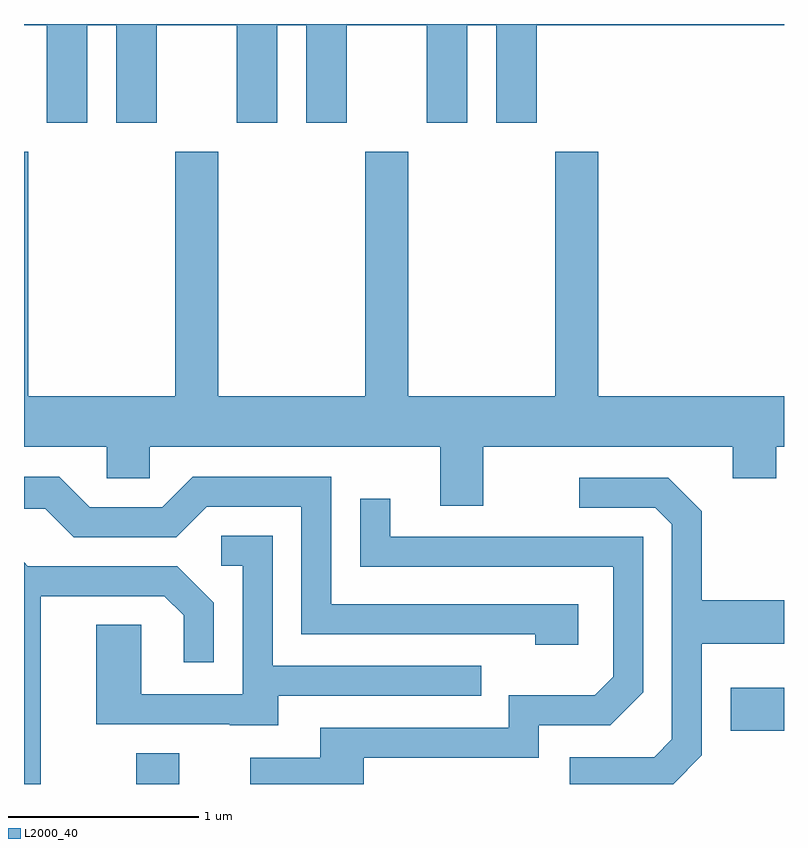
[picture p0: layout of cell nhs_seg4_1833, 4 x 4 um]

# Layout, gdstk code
import gdstk
lib = gdstk.Library(unit=1e-6, precision=1e-09)
def R(c, l, rs):  # rectangles x0, y0, x1, y1
    for r in rs: c.add(gdstk.rectangle(r[:2], r[2:], *l))
def P(c, l, *ps):  # polygons
    for p in ps: c.add(gdstk.Polygon(p, *l))
L2000_40 = (2000, 40)

nhs_seg4_1833 = lib.new_cell('nhs_seg4_1833')
R(nhs_seg4_1833, L2000_40, [(238.201,1383.982,238.429,1384.144), (241.331,1384.261,241.611,1384.489)])
P(nhs_seg4_1833, L2000_40, [(237.944,1387.976),(238.096,1387.976),(238.096,1387.461),(238.309,1387.461),(238.309,1387.976),(238.731,1387.976),(238.731,1387.461),(238.944,1387.461),(238.944,1387.976),(239.096,1387.976),(239.096,1387.461),(239.309,1387.461),(239.309,1387.976),(239.731,1387.976),(239.731,1387.461),(239.944,1387.461),(239.944,1387.976),(240.096,1387.976),(240.096,1387.461),(240.309,1387.461),(240.309,1387.976),(241.611,1387.976),(241.611,1387.982),(237.611,1387.982),(237.611,1387.976),(237.731,1387.976),(237.731,1387.461),(237.944,1387.461)],
  [(240.029,1385.756),(241.341,1385.756),(241.341,1385.591),(241.569,1385.591),(241.569,1385.756),(241.611,1385.756),(241.611,1386.024),(240.634,1386.024),(240.634,1387.309),(240.406,1387.309),(240.406,1386.024),(239.634,1386.024),(239.634,1387.309),(239.406,1387.309),(239.406,1386.024),(238.634,1386.024),(238.634,1387.309),(238.406,1387.309),(238.406,1386.024),(237.634,1386.024),(237.634,1387.309),(237.611,1387.309),(237.611,1385.756),(238.046,1385.756),(238.046,1385.591),(238.274,1385.591),(238.274,1385.756),(239.801,1385.756),(239.801,1385.446),(240.029,1385.446)],
  [(240.529,1384.929),(239.229,1384.929),(239.229,1385.599),(238.499,1385.599),(238.339,1385.439),(237.957,1385.439),(237.797,1385.599),(237.611,1385.599),(237.611,1385.431),(237.724,1385.431),(237.874,1385.281),(238.412,1385.281),(238.572,1385.441),(239.071,1385.441),(239.071,1384.771),(240.301,1384.771),(240.301,1384.716),(240.529,1384.716)],
  [(241.179,1384.134),(241.179,1384.721),(241.611,1384.721),(241.611,1384.949),(241.179,1384.949),(241.179,1385.417),(241.002,1385.594),(240.533,1385.594),(240.533,1385.436),(240.934,1385.436),(241.021,1385.349),(241.021,1384.217),(240.929,1384.124),(240.483,1384.124),(240.483,1383.982),(241.028,1383.982)],
  [(239.399,1384.121),(240.319,1384.121),(240.319,1384.291),(240.697,1384.291),(240.869,1384.464),(240.869,1385.284),(239.539,1385.284),(239.539,1385.483),(239.381,1385.483),(239.381,1385.126),(240.711,1385.126),(240.711,1384.547),(240.614,1384.449),(240.161,1384.449),(240.161,1384.279),(239.171,1384.279),(239.171,1384.119),(238.803,1384.119),(238.803,1383.982),(239.399,1383.982)],
  [(238.949,1384.446),(240.018,1384.446),(240.018,1384.604),(238.919,1384.604),(238.919,1385.289),(238.648,1385.289),(238.648,1385.131),(238.761,1385.131),(238.761,1384.454),(238.229,1384.454),(238.229,1384.819),(237.991,1384.819),(237.991,1384.296),(238.695,1384.296),(238.695,1384.291),(238.949,1384.291)],
  [(237.699,1384.971),(238.349,1384.971),(238.451,1384.869),(238.451,1384.623),(238.609,1384.623),(238.609,1384.937),(238.417,1385.129),(237.632,1385.129),(237.611,1385.15),(237.611,1383.982),(237.699,1383.982)])

lib.write_gds('nhs_seg4_1833.gds')
